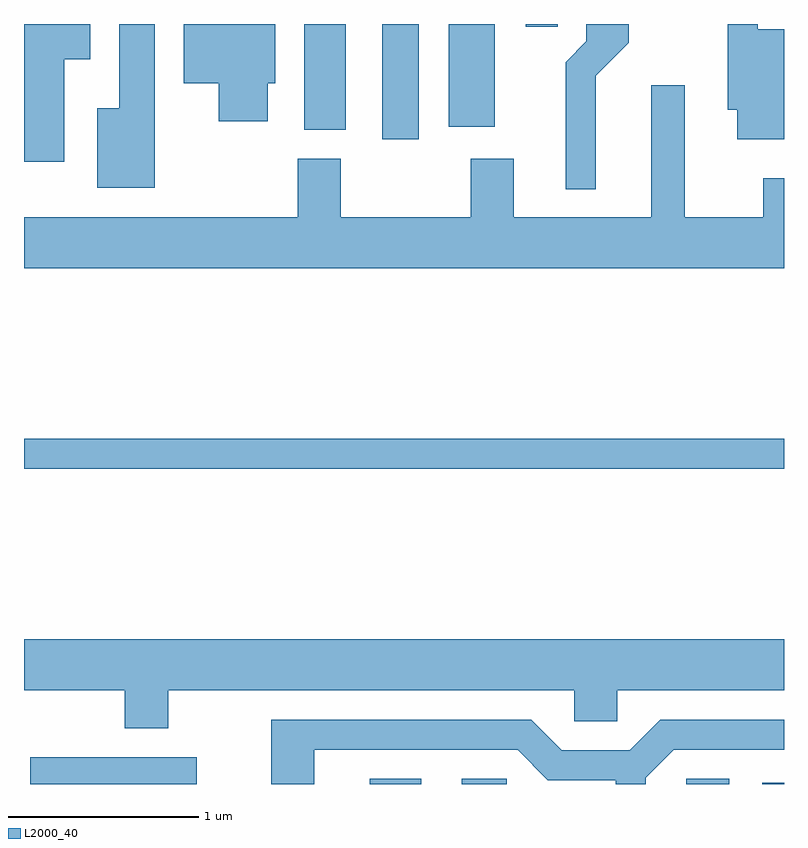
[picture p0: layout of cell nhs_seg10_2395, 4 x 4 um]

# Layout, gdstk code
import gdstk
lib = gdstk.Library(unit=1e-6, precision=1e-09)
def R(c, l, rs):  # rectangles x0, y0, x1, y1
    for r in rs: c.add(gdstk.rectangle(r[:2], r[2:], *l))
def P(c, l, *ps):  # polygons
    for p in ps: c.add(gdstk.Polygon(p, *l))
L2000_40 = (2000, 40)

nhs_seg10_2395 = lib.new_cell('nhs_seg10_2395')
R(nhs_seg10_2395, L2000_40, [(255.643,2124.522,256.519,2124.664), (257.431,2124.522,257.703,2124.549), (257.916,2124.522,258.153,2124.549), (259.096,2124.522,259.324,2124.549), (259.496,2124.522,259.611,2124.529), (255.611,2126.181,259.611,2126.339), (257.496,2127.916,257.689,2128.522), (257.086,2127.966,257.304,2128.522), (257.846,2127.981,258.089,2128.522), (258.251,2128.508,258.419,2128.522)])
P(nhs_seg10_2395, L2000_40, [(256.299,2128.522),(256.111,2128.522),(256.111,2128.079),(255.996,2128.079),(255.996,2127.661),(256.299,2127.661)],
  [(258.619,2128.249),(258.794,2128.424),(258.794,2128.522),(258.571,2128.522),(258.571,2128.432),(258.461,2128.322),(258.461,2127.653),(258.619,2127.653)],
  [(259.611,2128.494),(259.474,2128.494),(259.474,2128.522),(259.316,2128.522),(259.316,2128.071),(259.366,2128.071),(259.366,2127.916),(259.611,2127.916)],
  [(256.894,2128.211),(256.934,2128.211),(256.934,2128.522),(256.451,2128.522),(256.451,2128.211),(256.636,2128.211),(256.636,2128.011),(256.894,2128.011)],
  [(255.824,2128.336),(255.959,2128.336),(255.959,2128.522),(255.611,2128.522),(255.611,2127.796),(255.824,2127.796)],
  [(259.611,2127.709),(259.501,2127.709),(259.501,2127.504),(259.089,2127.504),(259.089,2128.199),(258.911,2128.199),(258.911,2127.504),(258.189,2127.504),(258.189,2127.814),(257.961,2127.814),(257.961,2127.504),(257.279,2127.504),(257.279,2127.814),(257.051,2127.814),(257.051,2127.504),(255.611,2127.504),(255.611,2127.236),(259.611,2127.236)],
  [(256.369,2125.016),(258.506,2125.016),(258.506,2124.851),(258.734,2124.851),(258.734,2125.016),(259.611,2125.016),(259.611,2125.284),(255.611,2125.284),(255.611,2125.016),(256.141,2125.016),(256.141,2124.816),(256.369,2124.816)],
  [(257.139,2124.701),(258.209,2124.701),(258.368,2124.541),(258.726,2124.541),(258.726,2124.522),(258.884,2124.522),(258.884,2124.554),(259.032,2124.701),(259.611,2124.701),(259.611,2124.859),(258.959,2124.859),(258.799,2124.699),(258.442,2124.699),(258.282,2124.859),(256.911,2124.859),(256.911,2124.522),(257.139,2124.522)])

lib.write_gds('nhs_seg10_2395.gds')
